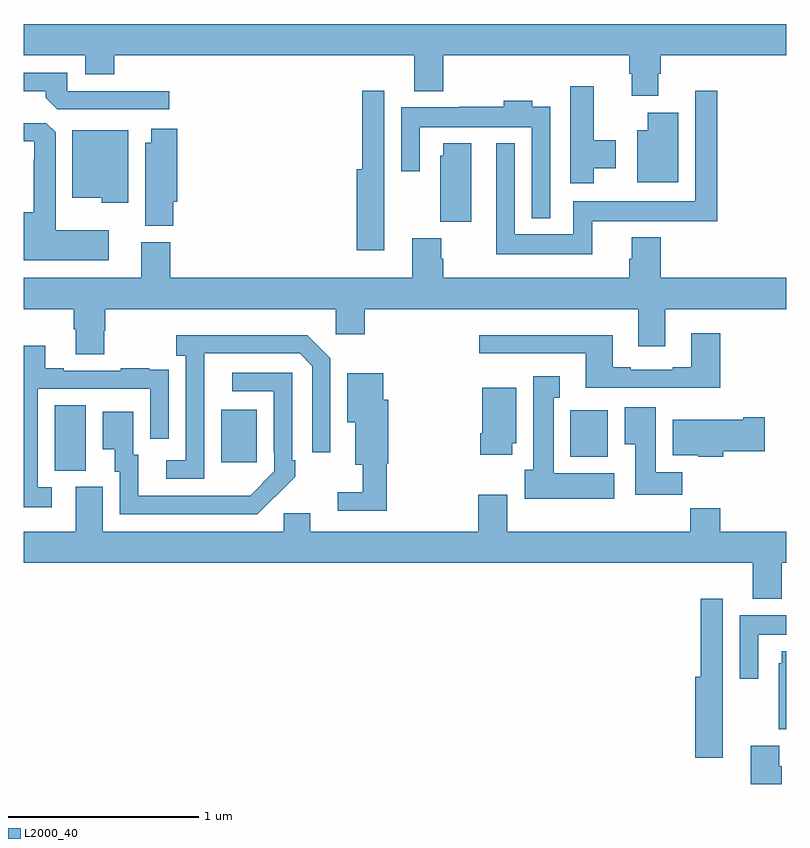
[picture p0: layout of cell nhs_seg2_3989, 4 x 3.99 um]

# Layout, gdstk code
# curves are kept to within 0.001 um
import gdstk
lib = gdstk.Library(unit=1e-6, precision=1e-09)
def R(c, l, rs):  # rectangles x0, y0, x1, y1
    for r in rs: c.add(gdstk.rectangle(r[:2], r[2:], *l))
def P(c, l, *ps):  # polygons
    for p in ps: c.add(gdstk.Polygon(p, *l))
L2000_40 = (2000, 40)

nhs_seg2_3989 = lib.new_cell('nhs_seg2_3989')
R(nhs_seg2_3989, L2000_40, [(323.162,657.445,323.326,657.788), (324.035,657.489,324.223,657.763), (325.868,657.518,326.065,657.76)])
P(nhs_seg2_3989, L2000_40, [(326.329,659.526),(326.342,659.526),(326.342,659.624),(327,659.624),(327,659.788),(323,659.788),(323,659.624),(323.321,659.624),(323.321,659.525),(323.474,659.525),(323.474,659.624),(325.049,659.624),(325.049,659.435),(325.202,659.435),(325.202,659.624),(326.177,659.624),(326.177,659.526),(326.189,659.526),(326.189,659.412),(326.329,659.412)],
  [(323.764,659.436),(323.229,659.436),(323.229,659.532),(323,659.532),(323,659.436),(323.114,659.436),(323.114,659.402),(323.175,659.34),(323.764,659.34)],
  [(325.99,659.03),(326.107,659.03),(326.107,659.178),(325.99,659.178),(325.99,659.461),(325.868,659.461),(325.868,658.953),(325.99,658.953)],
  [(325.982,658.754),(326.516,658.754),(326.516,658.752),(326.639,658.752),(326.639,659.437),(326.523,659.437),(326.523,658.858),(325.884,658.858),(325.884,658.684),(325.575,658.684),(325.575,659.161),(325.478,659.161),(325.478,658.58),(325.982,658.58)],
  [(324.892,658.922),(324.891,658.922),(324.891,659.437),(324.775,659.437),(324.775,659.026),(324.746,659.026),(324.746,658.602),(324.892,658.602)],
  [(325.761,659.353),(325.669,659.353),(325.669,659.386),(325.517,659.386),(325.517,659.353),(325.285,659.353),(325.285,659.35),(324.981,659.35),(324.981,659.016),(325.077,659.016),(325.077,659.246),(325.665,659.246),(325.665,658.769),(325.761,658.769)],
  [(326.434,659.323),(326.273,659.323),(326.273,659.23),(326.219,659.23),(326.219,658.958),(326.434,658.958)],
  [(323.446,658.705),(323.167,658.705),(323.167,659.219),(323.118,659.268),(323,659.268),(323,659.172),(323.055,659.172),(323.055,659.075),(323.051,659.075),(323.051,658.801),(323,658.801),(323,658.547),(323.446,658.547)],
  [(323.783,658.854),(323.804,658.854),(323.804,659.239),(323.669,659.239),(323.669,659.164),(323.636,659.164),(323.636,658.729),(323.783,658.729)],
  [(323.548,659.23),(323.255,659.23),(323.255,658.877),(323.409,658.877),(323.409,658.85),(323.548,658.85)],
  [(325.348,659.161),(325.202,659.161),(325.202,659.097),(325.184,659.097),(325.184,658.75),(325.348,658.75)],
  [(323.421,658.179),(323.426,658.179),(323.426,658.292),(324.636,658.292),(324.636,658.161),(324.788,658.161),(324.788,658.292),(326.225,658.292),(326.225,658.098),(326.365,658.098),(326.365,658.292),(327,658.292),(327,658.456),(326.342,658.456),(326.342,658.669),(326.189,658.669),(326.189,658.557),(326.177,658.557),(326.177,658.456),(325.202,658.456),(325.202,658.556),(325.189,658.556),(325.189,658.665),(325.037,658.665),(325.037,658.456),(323.768,658.456),(323.768,658.644),(323.615,658.644),(323.615,658.456),(323,658.456),(323,658.292),(323.261,658.292),(323.261,658.186),(323.273,658.186),(323.273,658.054),(323.421,658.054)],
  [(326.654,658.165),(326.501,658.165),(326.501,657.988),(326.405,657.988),(326.405,657.975),(326.185,657.975),(326.185,657.988),(326.089,657.988),(326.089,658.156),(325.389,658.156),(325.389,658.059),(325.949,658.059),(325.949,657.879),(326.409,657.879),(326.409,657.878),(326.654,657.878)],
  [(323.946,657.859),(323.947,658.059),(324.447,658.059),(324.513,657.993),(324.513,657.54),(324.609,657.54),(324.609,658.035),(324.488,658.156),(323.799,658.156),(323.799,658.046),(323.85,658.046),(323.85,657.498),(323.748,657.498),(323.748,657.402),(323.946,657.402)],
  [(323.146,657.357),(323.073,657.357),(323.073,657.873),(323.664,657.873),(323.664,657.612),(323.76,657.612),(323.76,657.866),(323.759,657.866),(323.759,657.975),(323.657,657.975),(323.657,657.982),(323.509,657.982),(323.509,657.969),(323.209,657.969),(323.209,657.982),(323.113,657.982),(323.113,658.099),(323,658.099),(323,657.252),(323.146,657.252)],
  [(324.317,657.307),(324.318,657.306),(324.423,657.411),(324.423,657.499),(324.408,657.499),(324.408,657.957),(324.093,657.957),(324.093,657.861),(324.312,657.861),(324.312,657.541),(324.315,657.541),(324.315,657.441),(324.187,657.313),(323.599,657.312),(323.599,657.528),(323.575,657.528),(323.575,657.754),(323.414,657.754),(323.414,657.557),(323.477,657.557),(323.477,657.438),(323.502,657.438),(323.502,657.216),(324.226,657.216)],
  [(324.905,657.48),(324.911,657.48),(324.911,657.816),(324.886,657.816),(324.886,657.955),(324.698,657.955),(324.698,657.698),(324.74,657.698),(324.74,657.476),(324.777,657.476),(324.777,657.331),(324.648,657.331),(324.648,657.234),(324.905,657.234)],
  [(326.098,657.43),(325.78,657.43),(325.78,657.827),(325.813,657.827),(325.813,657.94),(325.673,657.94),(325.673,657.45),(325.628,657.45),(325.628,657.296),(326.098,657.296)],
  [(325.564,657.588),(325.585,657.588),(325.585,657.88),(325.406,657.88),(325.406,657.64),(325.394,657.64),(325.394,657.528),(325.564,657.528)],
  [(326.456,657.436),(326.317,657.436),(326.317,657.778),(326.153,657.778),(326.153,657.584),(326.207,657.584),(326.207,657.318),(326.456,657.318)],
  [(326.669,657.547),(326.887,657.547),(326.887,657.725),(326.774,657.725),(326.774,657.712),(326.405,657.712),(326.405,657.524),(326.538,657.524),(326.538,657.518),(326.669,657.518)],
  [(326.978,656.96),(327,656.96),(327,657.124),(326.654,657.124),(326.654,657.248),(326.497,657.248),(326.497,657.124),(325.537,657.124),(325.537,657.319),(325.385,657.319),(325.385,657.124),(324.502,657.124),(324.502,657.222),(324.363,657.222),(324.363,657.124),(323.413,657.124),(323.413,657.36),(323.273,657.36),(323.273,657.124),(323,657.124),(323,656.96),(326.825,656.96),(326.825,656.771),(326.978,656.771)],
  [(326.668,656.258),(326.667,656.258),(326.667,656.773),(326.551,656.773),(326.551,656.362),(326.522,656.362),(326.522,655.938),(326.668,655.938)],
  [(326.853,656.582),(327,656.582),(327,656.686),(326.757,656.686),(326.757,656.352),(326.853,656.352)],
  [(327,656.497),(326.978,656.497),(326.978,656.433),(326.96,656.433),(326.96,656.086),(327,656.086)],
  [(326.978,655.892),(326.965,655.892),(326.965,656.001),(326.813,656.001),(326.813,655.8),(326.978,655.8)])

lib.write_gds('nhs_seg2_3989.gds')
